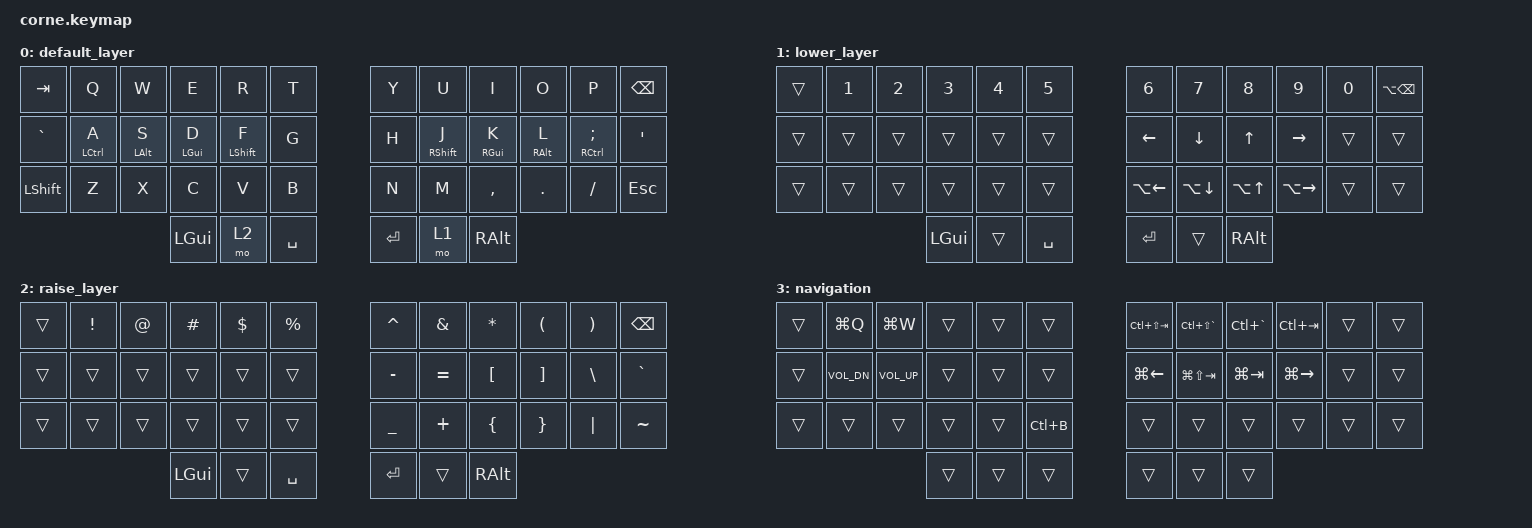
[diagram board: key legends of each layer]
/*
 * Copyright (c) 2020 The ZMK Contributors
 *
 * SPDX-License-Identifier: MIT
 */

#include <behaviors.dtsi>
#include <dt-bindings/zmk/bt.h>
#include <dt-bindings/zmk/keys.h>

&mt { flavor = "tap-preferred"; };

/ {
    combos {
        compatible = "zmk,combos";

        caps_word {
            bindings = <&caps_word>;
            key-positions = <16 19>;
        };

        bootloader {
            bindings = <&bootloader>;
            key-positions = <0 24 29 5>;
        };

        bt {
            bindings = <&bt BT_CLR_ALL>;
            key-positions = <5 29>;
        };
    };

    keymap {
        compatible = "zmk,keymap";

        default_layer {
            // -----------------------------------------------------------------------------------------
            // |  TAB |  Q  |  W  |  E  |  R  |  T  |   |  Y  |  U   |  I  |  O  |  P  | BSPC |
            // | CTRL |  A  |  S  |  D  |  F  |  G  |   |  H  |  J   |  K  |  L  |  ;  |  '   |
            // | SHFT |  Z  |  X  |  C  |  V  |  B  |   |  N  |  M   |  ,  |  .  |  /  | ESC  |
            //                    | GUI | LWR | SPC |   | ENT | RSE  | ALT |

            bindings = <
&kp TAB    &kp Q        &kp W       &kp E       &kp R         &kp T        &kp Y    &kp U         &kp I       &kp O       &kp P           &kp BSPC
&kp GRAVE  &mt LCTRL A  &mt LALT S  &mt LGUI D  &mt LSHIFT F  &kp G        &kp H    &mt RSHIFT J  &mt RGUI K  &mt RALT L  &mt RCTRL SEMI  &kp SQT
&kp LSHFT  &kp Z        &kp X       &kp C       &kp V         &kp B        &kp N    &kp M         &kp COMMA   &kp DOT     &kp FSLH        &kp ESC
                                    &kp LGUI    &mo 2         &kp SPACE    &kp RET  &mo 1         &kp RALT
            >;
        };

        lower_layer {
            // -----------------------------------------------------------------------------------------
            // |  TAB |  1  |  2  |  3  |  4  |  5  |   |  6  |  7  |  8  |  9  |  0  | BSPC |
            // | BTCLR| BT1 | BT2 | BT3 | BT4 | BT5 |   | LFT | DWN |  UP | RGT |     |      |
            // | SHFT |     |     |     |     |     |   |     |     |     |     |     |      |
            //                    | GUI |     | SPC |   | ENT |     | ALT |

            bindings = <
&trans  &kp N1  &kp N2  &kp N3    &kp N4  &kp N5       &kp N6              &kp N7              &kp N8            &kp N9               &kp N0  &kp LA(BSPC)
&trans  &trans  &trans  &trans    &trans  &trans       &kp LEFT            &kp DOWN            &kp UP            &kp RIGHT            &trans  &trans
&trans  &trans  &trans  &trans    &trans  &trans       &kp LA(LEFT_ARROW)  &kp LA(DOWN_ARROW)  &kp LA(UP_ARROW)  &kp LA(RIGHT_ARROW)  &trans  &trans
                        &kp LGUI  &trans  &kp SPACE    &kp RET             &trans              &kp RALT
            >;
        };

        raise_layer {
            // -----------------------------------------------------------------------------------------
            // |  TAB |  !  |  @  |  #  |  $  |  %  |   |  ^  |  &  |  *  |  (  |  )  | BSPC |
            // | CTRL |     |     |     |     |     |   |  -  |  =  |  [  |  ]  |  \  |  `   |
            // | SHFT |     |     |     |     |     |   |  _  |  +  |  {  |  }  | "|" |  ~   |
            //                    | GUI |     | SPC |   | ENT |     | ALT |

            bindings = <
&trans  &kp EXCL  &kp AT  &kp HASH  &kp DLLR  &kp PRCNT    &kp CARET  &kp AMPS   &kp ASTRK  &kp LPAR  &kp RPAR  &kp BSPC
&trans  &trans    &trans  &trans    &trans    &trans       &kp MINUS  &kp EQUAL  &kp LBKT   &kp RBKT  &kp BSLH  &kp GRAVE
&trans  &trans    &trans  &trans    &trans    &trans       &kp UNDER  &kp PLUS   &kp LBRC   &kp RBRC  &kp PIPE  &kp TILDE
                          &kp LGUI  &trans    &kp SPACE    &kp RET    &trans     &kp RALT
            >;
        };

        navigation {
            bindings = <
&trans  &kp LG(Q)     &kp LG(W)        &trans  &trans  &trans       &kp LC(LS(TAB))  &kp LC(LS(GRAVE))  &kp LC(GRAVE)  &kp LC(TAB)    &trans  &trans
&trans  &kp C_VOL_DN  &kp C_VOLUME_UP  &trans  &trans  &trans       &kp LG(LEFT)     &kp LG(LS(TAB))    &kp LG(TAB)    &kp LG(RIGHT)  &trans  &trans
&trans  &trans        &trans           &trans  &trans  &kp LC(B)    &trans           &trans             &trans         &trans         &trans  &trans
                                       &trans  &trans  &trans       &trans           &trans             &trans
            >;
        };
    };

    conditional_layers {
        compatible = "zmk,conditional-layers";

        navigation_activated {
            if-layers = <1 2>;
            then-layer = <3>;
        };
    };
};
